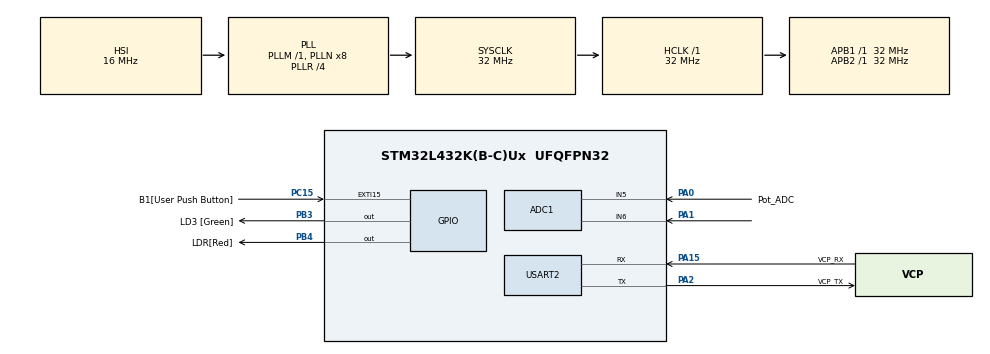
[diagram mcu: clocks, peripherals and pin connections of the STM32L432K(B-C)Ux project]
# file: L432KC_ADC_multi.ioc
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ADC1.Channel-10\#ChannelRegularConversion=ADC_CHANNEL_TEMPSENSOR
ADC1.Channel-7\#ChannelRegularConversion=ADC_CHANNEL_5
ADC1.Channel-8\#ChannelRegularConversion=ADC_CHANNEL_6
ADC1.Channel-9\#ChannelRegularConversion=ADC_CHANNEL_VREFINT
ADC1.DiscontinuousConvMode=ENABLE
ADC1.EOCSelection=ADC_EOC_SINGLE_CONV
ADC1.EnableRegularConversion=ENABLE
ADC1.NbrOfConversion=4
ADC1.NbrOfConversionFlag=1
ADC1.NbrOfDiscConversion=1
ADC1.OffsetNumber-10\#ChannelRegularConversion=ADC_OFFSET_NONE
ADC1.OffsetNumber-7\#ChannelRegularConversion=ADC_OFFSET_NONE
ADC1.OffsetNumber-8\#ChannelRegularConversion=ADC_OFFSET_NONE
ADC1.OffsetNumber-9\#ChannelRegularConversion=ADC_OFFSET_NONE
ADC1.Rank-10\#ChannelRegularConversion=4
ADC1.Rank-7\#ChannelRegularConversion=1
ADC1.Rank-8\#ChannelRegularConversion=2
ADC1.Rank-9\#ChannelRegularConversion=3
ADC1.SamplingTime-10\#ChannelRegularConversion=ADC_SAMPLETIME_640CYCLES_5
ADC1.SamplingTime-7\#ChannelRegularConversion=ADC_SAMPLETIME_640CYCLES_5
ADC1.SamplingTime-8\#ChannelRegularConversion=ADC_SAMPLETIME_640CYCLES_5
ADC1.SamplingTime-9\#ChannelRegularConversion=ADC_SAMPLETIME_640CYCLES_5
ADC1.master=1
Mcu.Family=STM32L4
Mcu.Name=STM32L432K(B-C)Ux
Mcu.Package=UFQFPN32
NVIC.PriorityGroup=NVIC_PRIORITYGROUP_4
PA0.GPIO_Label=Pot_ADC
PA0.Signal=ADCx_IN5
PA1.Signal=ADCx_IN6
PA13\ (JTMS-SWDIO).GPIO_Label=SWDIO
PA13\ (JTMS-SWDIO).Mode=Serial_Wire
PA13\ (JTMS-SWDIO).Signal=SYS_JTMS-SWDIO
PA14\ (JTCK-SWCLK).GPIO_Label=SWCLK
PA14\ (JTCK-SWCLK).Mode=Serial_Wire
PA14\ (JTCK-SWCLK).Signal=SYS_JTCK-SWCLK
PA15\ (JTDI).GPIO_Label=VCP_RX
PA15\ (JTDI).Mode=Asynchronous
PA15\ (JTDI).Signal=USART2_RX
PA2.GPIO_Label=VCP_TX
PA2.Mode=Asynchronous
PA2.Signal=USART2_TX
PB3\ (JTDO-TRACESWO).GPIO_Label=LD3 [Green]
PB3\ (JTDO-TRACESWO).Signal=GPIO_Output
PB4\ (NJTRST).GPIO_Label=LDR[Red]
PB4\ (NJTRST).Signal=GPIO_Output
PC15-OSC32_OUT\ (PC15).GPIO_Label=B1[User Push Button]
PC15-OSC32_OUT\ (PC15).Signal=GPXTI15
ProjectManager.HeapSize=0x200
ProjectManager.StackSize=0x400
ProjectManager.TargetToolchain=STM32CubeIDE
RCC.ADCFreq_Value=64000000
RCC.AHBFreq_Value=32000000
RCC.APB1Freq_Value=32000000
RCC.APB1TimFreq_Value=32000000
RCC.APB2Freq_Value=32000000
RCC.APB2TimFreq_Value=32000000
RCC.CortexFreq_Value=32000000
RCC.HCLKFreq_Value=32000000
RCC.HSE_VALUE=8000000
RCC.HSI16_VALUE=16000000
RCC.HSI48_VALUE=48000000
RCC.HSI_VALUE=16000000
RCC.MSI_VALUE=4000000
RCC.PLLMUL=RCC_PLLMUL_4
RCC.PLLR=RCC_PLLR_DIV4
RCC.PLLSourceVirtual=RCC_PLLSOURCE_HSI
RCC.SYSCLKFreq_VALUE=32000000
RCC.SYSCLKSource=RCC_SYSCLKSOURCE_PLLCLK
RCC.USBFreq_Value=64000000
RCC.VCOOutputFreq_Value=128000000
SH.ADCx_IN5.0=ADC1_IN5,IN5-Single-Ended
SH.ADCx_IN6.0=ADC1_IN6,IN6-Single-Ended
USART2.SwapParam=ADVFEATURE_SWAP_ENABLE
USART2.VirtualMode-Asynchronous=VM_ASYNC
VP_ADC1_TempSens_Input.Mode=IN-TempSens
VP_ADC1_Vref_Input.Mode=IN-Vrefint
board=NUCLEO-L432KC

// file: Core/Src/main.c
/* USER CODE BEGIN Header */
/**
 ******************************************************************************
 * @file           : main.c
 * @brief          : Main program body
 ******************************************************************************
 * @attention
 *
 * Copyright (c) 2025 STMicroelectronics.
 * All rights reserved.
 *
 * This software is licensed under terms that can be found in the LICENSE file
 * in the root directory of this software component.
 * If no LICENSE file comes with this software, it is provided AS-IS.
 *
 ******************************************************************************
 */
/* USER CODE END Header */
#include "main.h"
#include "adc.h"
#include "usart.h"
#include "gpio.h"

/* USER CODE BEGIN Includes */
#include "stdio.h"
#include "string.h"
/* USER CODE END Includes */

/* USER CODE BEGIN PV */
char clearScreen[] = "\e[1;1H\e[2J"; // Commande ANSI pour effacer l'écran du terminal
char output[100]; // Tampon de sortie pour l'UART
uint8_t Nbr_Channel = 4; // Nombre total de canaux ADC à convertir

/* Sélection d'un canal ADC spécifique (par défaut : ADC_CHANNEL_5) */
uint32_t selectedChannel = ADC_CHANNEL_5;

/* Décommenter la ligne suivante pour activer le mode "un seul canal" */
//#define SINGLE_CHANNEL_MODE

/* USER CODE END PV */

void SystemClock_Config(void);

int main(void)
{

	/* MCU Configuration--------------------------------------------------------*/

	/* Reset of all peripherals, Initializes the Flash interface and the Systick. */
	HAL_Init();

	/* Configure the system clock */
	SystemClock_Config();

	/* Initialize all configured peripherals */
	MX_GPIO_Init();
	MX_USART2_UART_Init();
	MX_ADC1_Init();
	/* USER CODE BEGIN 2 */

	// Envoi de la commande pour effacer l'écran du terminal via l'UART
	HAL_UART_Transmit(&huart2, (uint8_t*)clearScreen, strlen(clearScreen), HAL_MAX_DELAY);
	/* USER CODE END 2 */

	/* Infinite loop */
	/* USER CODE BEGIN WHILE */
	while (1)
	{

#ifdef SINGLE_CHANNEL_MODE		/* MODE : CONVERSION D'UN SEUL CANAL ADC */

		/* Configuration du canal ADC sélectionné */
		ADC_ChannelConfTypeDef sConfig = {0};
		sConfig.Channel = selectedChannel;
		sConfig.Rank = ADC_REGULAR_RANK_1;
		sConfig.SamplingTime = ADC_SAMPLETIME_640CYCLES_5;
		sConfig.SingleDiff = ADC_SINGLE_ENDED;
		sConfig.OffsetNumber = ADC_OFFSET_NONE;
		sConfig.Offset = 0;

		if (HAL_ADC_ConfigChannel(&hadc1, &sConfig) != HAL_OK) {
			Error_Handler();
		}

		/* Démarrage de la conversion ADC */
		HAL_ADC_Start(&hadc1);

		/* Attente de la fin de la conversion */
		if (HAL_ADC_PollForConversion(&hadc1, HAL_MAX_DELAY) == HAL_OK) {
			uint32_t resultatADC = HAL_ADC_GetValue(&hadc1);
			float tensionADC = (resultatADC * 3.3) / 4096.0;

			/* Affichage du résultat sur le terminal série */
			snprintf(output, sizeof(output), "ADC Single Channel Mode: Value = %ld (%.2f V)\r\n", resultatADC, tensionADC);
			HAL_UART_Transmit(&huart2, (uint8_t*)output, strlen(output), HAL_MAX_DELAY);
		}

		/* Arrêt de l'ADC */
		HAL_ADC_Stop(&hadc1);

#else		/* MODE : CONVERSION DE TOUS LES CANAUX ADC */

		for (uint8_t i = 0; i < Nbr_Channel; i++) {
			/* Démarrage de la conversion ADC */
			HAL_ADC_Start(&hadc1);

			/* Attente de la fin de la conversion */
			if (HAL_ADC_PollForConversion(&hadc1, HAL_MAX_DELAY) == HAL_OK) {
				/* Récupération de la valeur convertie */
				uint32_t resultatADC = HAL_ADC_GetValue(&hadc1);

				/* Conversion de la valeur ADC en tension */
				float tensionADC = (resultatADC * 3.3) / 4096.0;

				/* Mise en forme et affichage du résultat via UART */
				snprintf(output, sizeof(output), "ADC Multi-Channel Mode - IN%d: %ld (%.2f V)\r\n", i, resultatADC, tensionADC);
				HAL_UART_Transmit(&huart2, (uint8_t*)output, strlen(output), HAL_MAX_DELAY);
			}
		}

		/* Arrêt de l'ADC après conversion */
		HAL_ADC_Stop(&hadc1);

#endif

		/* Pause de 500 ms avant la prochaine série de mesures */
		HAL_Delay(500);

		/* Effacement de l'écran du terminal pour afficher les nouveaux résultats */
		HAL_UART_Transmit(&huart2, (uint8_t*)clearScreen, strlen(clearScreen), HAL_MAX_DELAY);

		/* Indicateur de fonctionnement : bascule de la LED LD3 */
		HAL_GPIO_TogglePin(LD3_GPIO_Port, LD3_Pin);

		/* USER CODE END WHILE */

	}
}

void SystemClock_Config(void)
{
	RCC_OscInitTypeDef RCC_OscInitStruct = {0};
	RCC_ClkInitTypeDef RCC_ClkInitStruct = {0};

	/** Configure the main internal regulator output voltage
	 */
	if (HAL_PWREx_ControlVoltageScaling(PWR_REGULATOR_VOLTAGE_SCALE1) != HAL_OK)
	{
		Error_Handler();
	}

	/** Initializes the RCC Oscillators according to the specified parameters
	 * in the RCC_OscInitTypeDef structure.
	 */
	RCC_OscInitStruct.OscillatorType = RCC_OSCILLATORTYPE_HSI;
	RCC_OscInitStruct.HSIState = RCC_HSI_ON;
	RCC_OscInitStruct.HSICalibrationValue = RCC_HSICALIBRATION_DEFAULT;
	RCC_OscInitStruct.PLL.PLLState = RCC_PLL_ON;
	RCC_OscInitStruct.PLL.PLLSource = RCC_PLLSOURCE_HSI;
	RCC_OscInitStruct.PLL.PLLM = 1;
	RCC_OscInitStruct.PLL.PLLN = 8;
	RCC_OscInitStruct.PLL.PLLP = RCC_PLLP_DIV7;
	RCC_OscInitStruct.PLL.PLLQ = RCC_PLLQ_DIV2;
	RCC_OscInitStruct.PLL.PLLR = RCC_PLLR_DIV4;
	if (HAL_RCC_OscConfig(&RCC_OscInitStruct) != HAL_OK)
	{
		Error_Handler();
	}

	/** Initializes the CPU, AHB and APB buses clocks
	 */
	RCC_ClkInitStruct.ClockType = RCC_CLOCKTYPE_HCLK|RCC_CLOCKTYPE_SYSCLK
			|RCC_CLOCKTYPE_PCLK1|RCC_CLOCKTYPE_PCLK2;
	RCC_ClkInitStruct.SYSCLKSource = RCC_SYSCLKSOURCE_PLLCLK;
	RCC_ClkInitStruct.AHBCLKDivider = RCC_SYSCLK_DIV1;
	RCC_ClkInitStruct.APB1CLKDivider = RCC_HCLK_DIV1;
	RCC_ClkInitStruct.APB2CLKDivider = RCC_HCLK_DIV1;

	if (HAL_RCC_ClockConfig(&RCC_ClkInitStruct, FLASH_LATENCY_1) != HAL_OK)
	{
		Error_Handler();
	}
}

void Error_Handler(void)
{
	__disable_irq();
	while (1)
	{
	}
}
